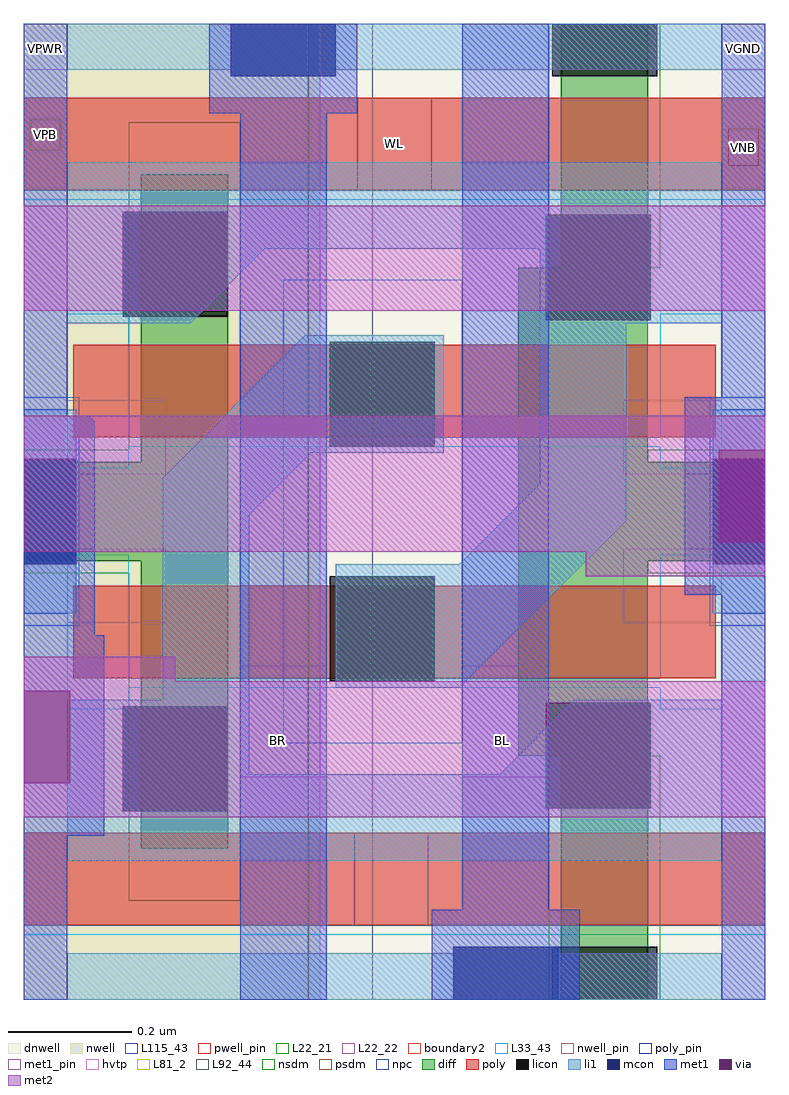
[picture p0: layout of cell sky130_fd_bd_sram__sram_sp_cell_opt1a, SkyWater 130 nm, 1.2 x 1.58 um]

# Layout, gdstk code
import gdstk
lib = gdstk.Library(unit=1e-6, precision=1e-09)
def R(c, l, rs):  # rectangles x0, y0, x1, y1
    for r in rs: c.add(gdstk.rectangle(r[:2], r[2:], *l))
def P(c, l, *ps):  # polygons
    for p in ps: c.add(gdstk.Polygon(p, *l))
L22_21 = (22, 21)
L22_22 = (22, 22)
L33_43 = (33, 43)
nwell_pin = (64, 16)
dnwell = (64, 18)
nwell = (64, 20)
diff = (65, 20)
poly_pin = (66, 16)
poly = (66, 20)
licon = (66, 44)
li1 = (67, 20)
mcon = (67, 44)
met1_pin = (68, 16)
met1 = (68, 20)
via = (68, 44)
met2 = (69, 20)
hvtp = (78, 44)
L81_2 = (81, 2)
L92_44 = (92, 44)
nsdm = (93, 44)
psdm = (94, 20)
npc = (95, 20)
L115_43 = (115, 43)
pwell_pin = (122, 16)
boundary2 = (236, 0)

sky130_fd_bd_sram__sram_ = lib.new_cell('sky130_fd_bd_sram__sram_sp_cell_met2')
R(sky130_fd_bd_sram__sram_, met2, [(-1.2,-0.465,0,-0.295)])
P(sky130_fd_bd_sram__sram_, met2, [(-0.29,-0.895),(-0.29,-0.855),(-1.2,-0.855),(-1.2,-0.635),(0,-0.635),(0,-0.895)],
  [(-1.2,-1.285),(-1.2,-1.025),(-0.955,-1.025),(-0.955,-1.065),(0,-1.065),(0,-1.285)])

c_sky130_fd_bd_sram__sram_ = lib.new_cell('sky130_fd_bd_sram__sram_sp_cell_fom_serif_pmos')
R(c_sky130_fd_bd_sram__sram_, L22_22, [(-0.16,-0.12,0,0)])

c_sky130_fd_bd_sram__sram__ = lib.new_cell('sky130_fd_bd_sram__sram_sp_cell_fom_serif_nmos')
R(c_sky130_fd_bd_sram__sram__, L22_22, [(-0.16,-0.12,0,0)])

c_sky130_fd_bd_sram__sram___ = lib.new_cell('sky130_fd_bd_sram__sram_sp_cell_fom_serifs')
c_sky130_fd_bd_sram__sram___.add(gdstk.Reference(c_sky130_fd_bd_sram__sram_, (-0.97,0)))
c_sky130_fd_bd_sram__sram___.add(gdstk.Reference(c_sky130_fd_bd_sram__sram_, (-0.97,-0.24)))
c_sky130_fd_bd_sram__sram___.add(gdstk.Reference(c_sky130_fd_bd_sram__sram__, (-0.07,-0.24)))
c_sky130_fd_bd_sram__sram___.add(gdstk.Reference(c_sky130_fd_bd_sram__sram__, (-0.07,0)))

c_sky130_fd_bd_sram__sram____ = lib.new_cell('sky130_fd_bd_sram__sram_sp_cell')
R(c_sky130_fd_bd_sram__sram____, L22_21, [(-0.35,-1.58,-0.33,-1.185), (-0.19,-1.58,-0.17,-1.185), (-0.19,-0.89,0,-0.87), (-0.19,-0.71,0,-0.69), (-0.35,-0.395,-0.33,0), (-0.19,-0.395,-0.17,0)])
P(c_sky130_fd_bd_sram__sram____, L22_21, [(-1.03,-1.42),(-1.03,-0.89),(-1.2,-0.89),(-1.2,-0.87),(-1.01,-0.87),(-1.01,-1.335),(-0.87,-1.335),(-0.87,-0.245),(-1.01,-0.245),(-1.01,-0.71),(-1.2,-0.71),(-1.2,-0.69),(-1.03,-0.69),(-1.03,-0.16),(-0.85,-0.16),(-0.85,-1.42)])
R(c_sky130_fd_bd_sram__sram____, nwell, [(-1.2,-1.58,-0.72,0)])
P(c_sky130_fd_bd_sram__sram____, diff, [(-1.01,-1.335),(-1.01,-0.87),(-1.2,-0.87),(-1.2,-0.71),(-1.01,-0.71),(-1.01,-0.245),(-0.87,-0.245),(-0.87,-1.335)],
  [(-0.33,-1.58),(-0.33,-1.185),(-0.4,-1.185),(-0.4,-0.395),(-0.33,-0.395),(-0.33,0),(-0.19,0),(-0.19,-0.71),(0,-0.71),(0,-0.87),(-0.19,-0.87),(-0.19,-1.58)])
R(c_sky130_fd_bd_sram__sram____, poly, [(-1.2,-1.46,-0.08,-1.31), (-1.12,-1.06,-0.08,-0.91), (-1.12,-0.67,-0.08,-0.52), (-1.2,-0.27,-0.08,-0.12)])
R(c_sky130_fd_bd_sram__sram____, licon, [(-0.345,-1.58,-0.175,-1.495), (-1.04,-1.275,-0.87,-1.105), (-0.355,-1.27,-0.185,-1.1), (-0.705,-1.065,-0.535,-0.895), (-1.2,-0.875,-1.115,-0.705), (-0.085,-0.875,0,-0.705), (-0.705,-0.685,-0.535,-0.515), (-0.355,-0.48,-0.185,-0.31), (-1.04,-0.475,-0.87,-0.305), (-0.345,-0.085,-0.175,0)])
R(c_sky130_fd_bd_sram__sram____, li1, [(-1.13,-1.58,-0.07,-1.505), (-1.2,-0.955,-1.115,-0.625), (-0.085,-0.955,0,-0.625), (-1.13,-0.075,-0.07,0)])
P(c_sky130_fd_bd_sram__sram____, li1, [(-0.695,-1.075),(-0.695,-0.875),(-0.495,-0.875),(-0.365,-0.745),(-0.365,-0.365),(-0.81,-0.365),(-0.93,-0.485),(-1.13,-0.485),(-1.13,-0.225),(-0.07,-0.225),(-0.07,-0.485),(-0.225,-0.485),(-0.225,-0.805),(-0.495,-1.075)],
  [(-1.13,-1.355),(-1.13,-1.095),(-0.975,-1.095),(-0.975,-0.735),(-0.745,-0.505),(-0.52,-0.505),(-0.52,-0.695),(-0.735,-0.695),(-0.835,-0.795),(-0.835,-1.215),(-0.43,-1.215),(-0.31,-1.095),(-0.07,-1.095),(-0.07,-1.355)])
R(c_sky130_fd_bd_sram__sram____, mcon, [(-1.2,-0.875,-1.115,-0.705)])
R(c_sky130_fd_bd_sram__sram____, hvtp, [(-1.2,-1.58,-0.72,0)])
R(c_sky130_fd_bd_sram__sram____, L81_2, [(-1.2,-1.58,0,0)])
R(c_sky130_fd_bd_sram__sram____, L92_44, [(-1.2,-1.58,-0.635,0)])
R(c_sky130_fd_bd_sram__sram____, nsdm, [(-0.74,-1.58,0,0)])
R(c_sky130_fd_bd_sram__sram____, psdm, [(-1.2,-1.58,-0.74,0)])
R(c_sky130_fd_bd_sram__sram____, npc, [(-0.78,-1.165,-0.49,-0.415)])
P(c_sky130_fd_bd_sram__sram____, L115_43, [(-1.2,-0.975),(-1.2,-0.955),(-1.13,-0.955),(-1.13,-0.625),(-1.2,-0.625),(-1.2,-0.605),(-1.11,-0.605),(-1.11,-0.975)],
  [(-0.09,-0.975),(-0.09,-0.605),(0,-0.605),(0,-0.625),(-0.07,-0.625),(-0.07,-0.955),(0,-0.955),(0,-0.975)])
c_sky130_fd_bd_sram__sram____.add(gdstk.Reference(c_sky130_fd_bd_sram__sram___, (0,-0.61)))
c_sky130_fd_bd_sram__sram____.add(gdstk.Label('npass', (-0.3,-0.21), layer=66, texttype=83))
c_sky130_fd_bd_sram__sram____.add(gdstk.Label('npd', (-0.295,-0.61), layer=66, texttype=83))
c_sky130_fd_bd_sram__sram____.add(gdstk.Label('npd', (-0.295,-1), layer=66, texttype=83))
c_sky130_fd_bd_sram__sram____.add(gdstk.Label('npass', (-0.3,-1.41), layer=66, texttype=83))
c_sky130_fd_bd_sram__sram____.add(gdstk.Label('ppu', (-0.93,-1.01), layer=66, texttype=83))
c_sky130_fd_bd_sram__sram____.add(gdstk.Label('ppu', (-0.945,-0.625), layer=66, texttype=83))
c_sky130_fd_bd_sram__sram____.add(gdstk.Label('ppu', (-0.94,-1.33), layer=66, texttype=83))
c_sky130_fd_bd_sram__sram____.add(gdstk.Label('ppu', (-0.94,-0.26), layer=66, texttype=83))

c_sky130_fd_bd_sram__sram_____ = lib.new_cell('sky130_fd_bd_sram__sram_sp_cell_addpoly')
R(c_sky130_fd_bd_sram__sram_____, poly, [(-0.08,-1.46,0,-1.31), (-0.08,-0.27,0,-0.12)])

c_sky130_fd_bd_sram__sram______ = lib.new_cell('sky130_fd_bd_sram__sram_sp_cell_metopt1')
R(c_sky130_fd_bd_sram__sram______, mcon, [(-0.505,-1.58,-0.335,-1.495), (-1.2,-0.875,-1.115,-0.705), (-0.085,-0.875,0,-0.705), (-0.865,-0.085,-0.695,0)])
P(c_sky130_fd_bd_sram__sram______, met1, [(-1.2,-1.58),(-1.2,0),(-1.13,0),(-1.13,-0.635),(-1.095,-0.635),(-1.085,-0.645),(-1.085,-0.99),(-1.07,-0.99),(-1.07,-1.315),(-1.13,-1.315),(-1.13,-1.58)],
  [(-0.85,-1.58),(-0.85,-0.145),(-0.9,-0.145),(-0.9,0),(-0.66,0),(-0.66,-0.145),(-0.71,-0.145),(-0.71,-1.58)],
  [(-0.54,-1.58),(-0.54,-1.435),(-0.49,-1.435),(-0.49,0),(-0.35,0),(-0.35,-1.435),(-0.3,-1.435),(-0.3,-1.58)],
  [(-0.07,-1.58),(-0.07,-0.925),(-0.13,-0.925),(-0.13,-0.605),(-0.07,-0.605),(-0.07,0),(0,0),(0,-1.58)])

c_sky130_fd_bd_sram__sram_______ = lib.new_cell('sky130_fd_bd_sram__sram_sp_cell_opt1_ce')
R(c_sky130_fd_bd_sram__sram_______, dnwell, [(-1.2,-1.58,0,0)])
c_sky130_fd_bd_sram__sram_______.add(gdstk.Reference(c_sky130_fd_bd_sram__sram____, (0,0)))
c_sky130_fd_bd_sram__sram_______.add(gdstk.Reference(c_sky130_fd_bd_sram__sram_____, (0,0)))
c_sky130_fd_bd_sram__sram_______.add(gdstk.Reference(c_sky130_fd_bd_sram__sram______, (0,0)))

c_sky130_fd_bd_sram__sram________ = lib.new_cell('sky130_fd_bd_sram__sram_sp_cell_via')
R(c_sky130_fd_bd_sram__sram________, via, [(-1.2,-1.23,-1.125,-1.08), (-0.075,-0.84,0,-0.69)])

c_sky130_fd_bd_sram__sram_________ = lib.new_cell('sky130_fd_bd_sram__sram_sp_cell_addpoly_sizing')
R(c_sky130_fd_bd_sram__sram_________, L33_43, [(-0.08,-1.31,0,-1.295), (-0.08,-0.12,0,-0.105)])

c_sky130_fd_bd_sram__sram__________ = lib.new_cell('sky130_fd_bd_sram__sram_sp_cell_p1_serif')
R(c_sky130_fd_bd_sram__sram__________, L33_43, [(-0.09,-0.125,0.01,0.125)])

c_sky130_fd_bd_sram__sram___________ = lib.new_cell('sky130_fd_bd_sram__sram_sp_cell_p1_serifs')
c_sky130_fd_bd_sram__sram___________.add(gdstk.Reference(c_sky130_fd_bd_sram__sram__________, (-0.97,-0.515)))
c_sky130_fd_bd_sram__sram___________.add(gdstk.Reference(c_sky130_fd_bd_sram__sram__________, (-0.97,-0.125)))
c_sky130_fd_bd_sram__sram___________.add(gdstk.Reference(c_sky130_fd_bd_sram__sram__________, (-0.01,-0.515)))
c_sky130_fd_bd_sram__sram___________.add(gdstk.Reference(c_sky130_fd_bd_sram__sram__________, (-0.01,-0.125)))

c_sky130_fd_bd_sram__sram____________ = lib.new_cell('sky130_fd_bd_sram__sram_sp_cell_p1m_sizing')
R(c_sky130_fd_bd_sram__sram____________, L33_43, [(-1.2,-1.31,-0.08,-1.295), (-1.13,-0.91,-0.07,-0.895), (-1.13,-0.52,-0.07,-0.505), (-1.2,-0.12,-0.08,-0.105)])
c_sky130_fd_bd_sram__sram____________.add(gdstk.Reference(c_sky130_fd_bd_sram__sram___________, (-0.07,-0.47)))

c_sky130_fd_bd_sram__sram_____________ = lib.new_cell('sky130_fd_bd_sram__sram_sp_cell_opt1a')
R(c_sky130_fd_bd_sram__sram_____________, nwell_pin, [(-1.19,-0.205,-1.14,-0.155)])
R(c_sky130_fd_bd_sram__sram_____________, poly_pin, [(-0.665,-1.46,-0.545,-1.31), (-0.66,-0.27,-0.54,-0.12)])
R(c_sky130_fd_bd_sram__sram_____________, li1, [(-0.505,-1.58,-0.335,-1.495), (-0.865,-0.085,-0.695,0)])
R(c_sky130_fd_bd_sram__sram_____________, met1_pin, [(-0.85,-1.22,-0.71,-1.04), (-0.49,-1.22,-0.35,-1.04), (-1.2,-0.075,-1.13,0), (-0.07,-0.075,0,0)])
R(c_sky130_fd_bd_sram__sram_____________, pwell_pin, [(-0.06,-0.23,-0.01,-0.17)])
R(c_sky130_fd_bd_sram__sram_____________, boundary2, [(-1.2,-1.58,0,0)])
c_sky130_fd_bd_sram__sram_____________.add(gdstk.Reference(sky130_fd_bd_sram__sram_, (0,0)))
c_sky130_fd_bd_sram__sram_____________.add(gdstk.Reference(c_sky130_fd_bd_sram__sram_______, (0,0)))
c_sky130_fd_bd_sram__sram_____________.add(gdstk.Reference(c_sky130_fd_bd_sram__sram________, (0,0)))
c_sky130_fd_bd_sram__sram_____________.add(gdstk.Reference(c_sky130_fd_bd_sram__sram_________, (0,-1.58), x_reflection=True))
c_sky130_fd_bd_sram__sram_____________.add(gdstk.Reference(c_sky130_fd_bd_sram__sram____________, (0,-1.58), x_reflection=True))
c_sky130_fd_bd_sram__sram_____________.add(gdstk.Label('BL', (-0.425,-1.16), layer=68, texttype=5))
c_sky130_fd_bd_sram__sram_____________.add(gdstk.Label('BR', (-0.79,-1.16), layer=68, texttype=5))
c_sky130_fd_bd_sram__sram_____________.add(gdstk.Label('VGND', (-0.035,-0.04), layer=68, texttype=5))
c_sky130_fd_bd_sram__sram_____________.add(gdstk.Label('VPWR', (-1.165,-0.04), layer=68, texttype=5))
c_sky130_fd_bd_sram__sram_____________.add(gdstk.Label('VPB', (-1.165,-0.18), layer=64, texttype=5))
c_sky130_fd_bd_sram__sram_____________.add(gdstk.Label('WL', (-0.6,-0.195), layer=66, texttype=5))
c_sky130_fd_bd_sram__sram_____________.add(gdstk.Label('VNB', (-0.035,-0.2), layer=64, texttype=59))

lib.write_gds('sky130_fd_bd_sram__sram_sp_cell_opt1a.gds')
